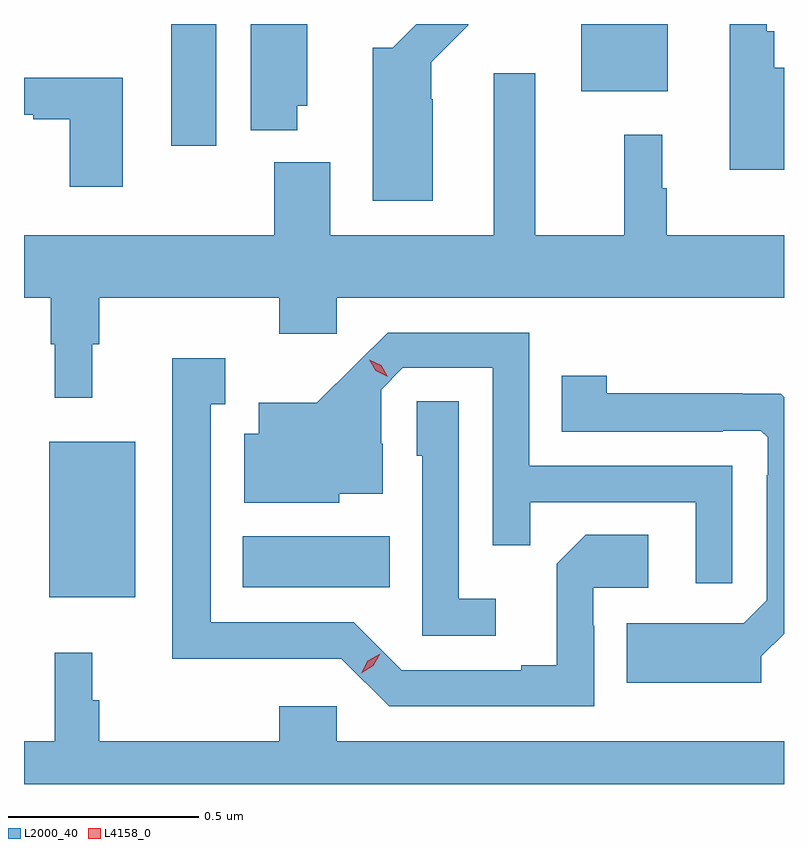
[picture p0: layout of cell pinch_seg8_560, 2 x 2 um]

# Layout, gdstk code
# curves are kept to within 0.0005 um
import gdstk
lib = gdstk.Library(unit=1e-6, precision=1e-09)
def R(c, l, rs):  # rectangles x0, y0, x1, y1
    for r in rs: c.add(gdstk.rectangle(r[:2], r[2:], *l))
def P(c, l, *ps):  # polygons
    for p in ps: c.add(gdstk.Polygon(p, *l))
L2000_40 = (2000, 40)
L4158_0 = (4158, 0)

pinch_seg8_560 = lib.new_cell('pinch_seg8_560')
R(pinch_seg8_560, L2000_40, [(142.631,1118.375,142.858,1118.785), (143.141,1118.402,143.528,1118.536), (142.952,1119.564,143.071,1119.884), (144.032,1119.707,144.259,1119.884)])
P(pinch_seg8_560, L2000_40, [(143.284,1119.669),(143.311,1119.669),(143.311,1119.884),(143.162,1119.884),(143.162,1119.605),(143.284,1119.605)],
  [(144.565,1119.769),(144.539,1119.769),(144.539,1119.865),(144.519,1119.865),(144.519,1119.884),(144.422,1119.884),(144.422,1119.5),(144.565,1119.5)],
  [(143.641,1119.686),(143.637,1119.686),(143.637,1119.784),(143.734,1119.881),(143.734,1119.884),(143.597,1119.884),(143.535,1119.822),(143.483,1119.822),(143.483,1119.419),(143.641,1119.419)],
  [(142.745,1119.041),(142.763,1119.041),(142.763,1119.164),(143.237,1119.164),(143.237,1119.069),(143.388,1119.069),(143.388,1119.164),(144.565,1119.164),(144.565,1119.328),(144.256,1119.328),(144.256,1119.452),(144.244,1119.452),(144.244,1119.592),(144.145,1119.592),(144.145,1119.328),(143.911,1119.328),(143.911,1119.754),(143.801,1119.754),(143.801,1119.328),(143.371,1119.328),(143.371,1119.52),(143.224,1119.52),(143.224,1119.328),(142.565,1119.328),(142.565,1119.164),(142.635,1119.164),(142.635,1119.041),(142.646,1119.041),(142.646,1118.901),(142.745,1118.901)],
  [(142.825,1119.742),(142.565,1119.742),(142.565,1119.645),(142.589,1119.645),(142.589,1119.633),(142.685,1119.633),(142.685,1119.456),(142.825,1119.456)],
  [(144.429,1118.721),(143.895,1118.721),(143.895,1119.072),(143.522,1119.072),(143.335,1118.887),(143.183,1118.887),(143.183,1118.806),(143.144,1118.806),(143.144,1118.624),(143.394,1118.624),(143.394,1118.648),(143.509,1118.648),(143.509,1118.78),(143.505,1118.78),(143.505,1118.922),(143.562,1118.979),(143.799,1118.979),(143.799,1118.512),(143.897,1118.512),(143.897,1118.625),(144.333,1118.625),(144.333,1118.412),(144.429,1118.412)],
  [(144.066,1118.3),(144.063,1118.3),(144.063,1118.4),(144.208,1118.4),(144.208,1118.54),(144.043,1118.54),(143.967,1118.464),(143.967,1118.197),(143.873,1118.197),(143.873,1118.184),(143.559,1118.184),(143.433,1118.31),(143.056,1118.31),(143.056,1118.883),(143.095,1118.883),(143.095,1119.004),(142.955,1119.004),(142.955,1118.213),(143.178,1118.213),(143.178,1118.214),(143.4,1118.214),(143.526,1118.088),(144.066,1118.088)],
  [(144.505,1118.22),(144.565,1118.28),(144.565,1118.902),(144.556,1118.911),(144.455,1118.911),(144.455,1118.912),(144.099,1118.912),(144.099,1118.959),(143.98,1118.959),(143.98,1118.811),(144.404,1118.811),(144.404,1118.814),(144.504,1118.814),(144.522,1118.796),(144.522,1118.696),(144.519,1118.696),(144.519,1118.367),(144.459,1118.307),(144.151,1118.307),(144.151,1118.15),(144.505,1118.15)],
  [(143.806,1118.371),(143.709,1118.371),(143.709,1118.891),(143.598,1118.891),(143.598,1118.748),(143.613,1118.748),(143.613,1118.274),(143.806,1118.274)],
  [(142.763,1118.105),(142.745,1118.105),(142.745,1118.23),(142.646,1118.23),(142.646,1117.996),(142.565,1117.996),(142.565,1117.884),(144.565,1117.884),(144.565,1117.996),(143.388,1117.996),(143.388,1118.089),(143.237,1118.089),(143.237,1117.996),(142.763,1117.996)])
P(pinch_seg8_560, L4158_0, [(143.522,1118.956),(143.491,1118.971),(143.474,1119.001),(143.474,1119.001),(143.474,1119.001),(143.505,1118.986),(143.522,1118.956),(143.522,1118.956)],
  [(143.452,1118.176),(143.452,1118.176),(143.47,1118.209),(143.502,1118.227),(143.502,1118.227),(143.502,1118.227),(143.484,1118.195),(143.453,1118.176)])

lib.write_gds('pinch_seg8_560.gds')
